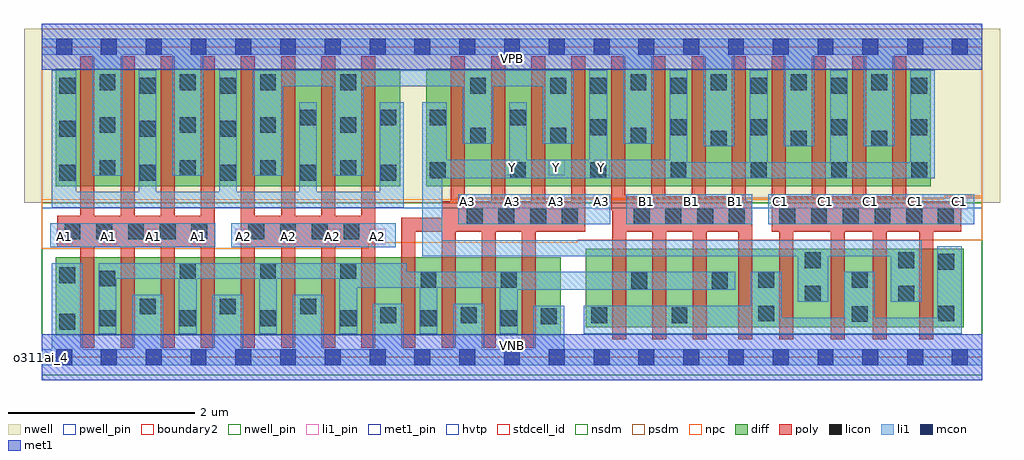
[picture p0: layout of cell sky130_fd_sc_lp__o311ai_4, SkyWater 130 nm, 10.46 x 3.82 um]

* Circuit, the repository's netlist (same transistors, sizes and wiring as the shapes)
* Copyright 2020 The SkyWater PDK Authors
*
* Licensed under the Apache License, Version 2.0 (the "License");
* you may not use this file except in compliance with the License.
* You may obtain a copy of the License at
*
*     https://www.apache.org/licenses/LICENSE-2.0
*
* Unless required by applicable law or agreed to in writing, software
* distributed under the License is distributed on an "AS IS" BASIS,
* WITHOUT WARRANTIES OR CONDITIONS OF ANY KIND, either express or implied.
* See the License for the specific language governing permissions and
* limitations under the License.
*
* SPDX-License-Identifier: Apache-2.0

.SUBCKT sky130_fd_sc_lp__o311ai_4 A1 A2 A3 B1 C1 VGND VNB VPB VPWR Y
*.PININFO A1:I A2:I A3:I B1:I C1:I VGND:I VNB:I VPB:I VPWR:I Y:O
MMPA0 VPWR A1 sndA1 VPB sky130_fd_pr__pfet_01v8_hvt m=4 w=1.26U l=0.15U mult=1
+ sa=0.265 sb=0.265 sd=0.28 area=0.063 perim=1.14
MMPA1 sndA1 A2 sndA2 VPB sky130_fd_pr__pfet_01v8_hvt m=4 w=1.26U l=0.15U mult=1
+ sa=0.265 sb=0.265 sd=0.28 area=0.063 perim=1.14
MMPA2 sndA2 A3 Y VPB sky130_fd_pr__pfet_01v8_hvt m=4 w=1.26U l=0.15U mult=1 sa=0.265
+ sb=0.265 sd=0.28 area=0.063 perim=1.14
MMPB0 VPWR B1 Y VPB sky130_fd_pr__pfet_01v8_hvt m=4 w=1.26U l=0.15U mult=1 sa=0.265
+ sb=0.265 sd=0.28 area=0.063 perim=1.14
MMPC0 VPWR C1 Y VPB sky130_fd_pr__pfet_01v8_hvt m=4 w=1.26U l=0.15U mult=1 sa=0.265
+ sb=0.265 sd=0.28 area=0.063 perim=1.14
MMNA0 pndA A1 VGND VNB sky130_fd_pr__nfet_01v8 m=4 w=0.84U l=0.15U mult=1 sa=0.265
+ sb=0.265 sd=0.28 area=0.063 perim=1.14
MMNA1 pndA A2 VGND VNB sky130_fd_pr__nfet_01v8 m=4 w=0.84U l=0.15U mult=1 sa=0.265
+ sb=0.265 sd=0.28 area=0.063 perim=1.14
MMNA2 pndA A3 VGND VNB sky130_fd_pr__nfet_01v8 m=4 w=0.84U l=0.15U mult=1 sa=0.265
+ sb=0.265 sd=0.28 area=0.063 perim=1.14
MMNB0 pndB B1 pndA VNB sky130_fd_pr__nfet_01v8 m=4 w=0.84U l=0.15U mult=1 sa=0.265
+ sb=0.265 sd=0.28 area=0.063 perim=1.14
MMNC0 Y C1 pndB VNB sky130_fd_pr__nfet_01v8 m=4 w=0.84U l=0.15U mult=1 sa=0.265
+ sb=0.265 sd=0.28 area=0.063 perim=1.14
.ENDS sky130_fd_sc_lp__o311ai_4

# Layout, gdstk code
import gdstk
lib = gdstk.Library(unit=1e-6, precision=1e-09)
def R(c, l, rs):  # rectangles x0, y0, x1, y1
    for r in rs: c.add(gdstk.rectangle(r[:2], r[2:], *l))
def A(c, l, x, y, w, h, nx, ny, dx, dy):  # array of equal rectangles
    R(c, l, [(x+i*dx, y+j*dy, x+i*dx+w, y+j*dy+h) for i in range(nx) for j in range(ny)])
def P(c, l, *ps):  # polygons
    for p in ps: c.add(gdstk.Polygon(p, *l))
nwell_pin = (64, 16)
nwell = (64, 20)
diff = (65, 20)
poly = (66, 20)
licon = (66, 44)
li1_pin = (67, 16)
li1 = (67, 20)
mcon = (67, 44)
met1_pin = (68, 16)
met1 = (68, 20)
hvtp = (78, 44)
stdcell_id = (81, 4)
nsdm = (93, 44)
psdm = (94, 20)
npc = (95, 20)
pwell_pin = (122, 16)
boundary2 = (236, 0)

sky130_fd_sc_lp__o311ai_ = lib.new_cell('sky130_fd_sc_lp__o311ai_4')
R(sky130_fd_sc_lp__o311ai_, nwell_pin, [(0,3.085,10.08,3.33)])
R(sky130_fd_sc_lp__o311ai_, nwell, [(-0.19,1.655,10.27,3.52)])
R(sky130_fd_sc_lp__o311ai_, diff, [(0.15,0.235,5.56,1.075), (5.83,0.325,9.88,1.165), (0.15,1.835,3.84,3.095), (4.12,1.835,9.53,3.095)])
P(sky130_fd_sc_lp__o311ai_, poly, [(1.855,3.225),(1.705,3.225),(1.705,1.515),(1.425,1.515),(1.425,3.225),(1.275,3.225),(1.275,1.515),(0.995,1.515),(0.995,3.225),(0.845,3.225),(0.845,1.515),(0.565,1.515),(0.565,3.225),(0.415,3.225),(0.415,1.515),(0.165,1.515),(0.165,1.185),(0.415,1.185),(0.415,0.105),(0.565,0.105),(0.565,1.185),(0.845,1.185),(0.845,0.105),(0.995,0.105),(0.995,1.185),(1.275,1.185),(1.275,0.105),(1.425,0.105),(1.425,1.185),(1.705,1.185),(1.705,0.105),(1.855,0.105)],
  [(3.575,3.225),(3.425,3.225),(3.425,1.515),(3.145,1.515),(3.145,3.225),(2.995,3.225),(2.995,1.515),(2.715,1.515),(2.715,3.225),(2.565,3.225),(2.565,1.515),(2.285,1.515),(2.285,3.225),(2.135,3.225),(2.135,0.105),(2.285,0.105),(2.285,1.185),(2.565,1.185),(2.565,0.105),(2.715,0.105),(2.715,1.185),(2.995,1.185),(2.995,0.105),(3.145,0.105),(3.145,1.185),(3.425,1.185),(3.425,0.105),(3.575,0.105)],
  [(5.825,3.225),(5.675,3.225),(5.675,1.675),(5.395,1.675),(5.395,3.225),(5.245,3.225),(5.245,1.675),(4.965,1.675),(4.965,3.225),(4.815,3.225),(4.815,1.675),(4.535,1.675),(4.535,3.225),(4.385,3.225),(4.385,1.675),(4.285,1.675),(4.285,1.495),(3.855,1.495),(3.855,0.105),(4.005,0.105),(4.005,1.345),(4.285,1.345),(4.285,0.105),(4.435,0.105),(4.435,1.345),(4.715,1.345),(4.715,0.105),(4.865,0.105),(4.865,1.345),(5.145,1.345),(5.145,0.105),(5.295,0.105),(5.295,1.345),(5.825,1.345)],
  [(7.615,1.675),(7.545,1.675),(7.545,3.225),(7.395,3.225),(7.395,1.725),(7.115,1.725),(7.115,3.225),(6.965,3.225),(6.965,1.725),(6.685,1.725),(6.685,3.225),(6.535,3.225),(6.535,1.725),(6.255,1.725),(6.255,3.225),(6.105,3.225),(6.105,1.575),(6.115,1.575),(6.115,0.195),(6.265,0.195),(6.265,1.345),(6.545,1.345),(6.545,0.195),(6.695,0.195),(6.695,1.345),(6.975,1.345),(6.975,0.195),(7.125,0.195),(7.125,1.345),(7.465,1.345),(7.465,0.195),(7.615,0.195)],
  [(9.855,1.675),(9.265,1.675),(9.265,3.225),(9.115,3.225),(9.115,1.725),(8.835,1.725),(8.835,3.225),(8.685,3.225),(8.685,1.725),(8.405,1.725),(8.405,3.225),(8.255,3.225),(8.255,1.725),(7.975,1.725),(7.975,3.225),(7.825,3.225),(7.825,1.345),(7.905,1.345),(7.905,0.195),(8.055,0.195),(8.055,1.345),(8.455,1.345),(8.455,0.195),(8.605,0.195),(8.605,1.345),(8.905,1.345),(8.905,0.195),(9.055,0.195),(9.055,1.345),(9.405,1.345),(9.405,0.195),(9.555,0.195),(9.555,1.345),(9.855,1.345)])
A(sky130_fd_sc_lp__o311ai_, licon, 0.62, 0.335, 0.17, 0.17, 6, 1, 0.86, 0)
A(sky130_fd_sc_lp__o311ai_, licon, 1.05, 0.46, 0.17, 0.17, 3, 1, 0.86, 0)
A(sky130_fd_sc_lp__o311ai_, licon, 1.48, 0.84, 0.17, 0.17, 3, 1, 0.86, 0)
A(sky130_fd_sc_lp__o311ai_, licon, 0.245, 1.265, 0.17, 0.17, 5, 1, 0.34, 0)
A(sky130_fd_sc_lp__o311ai_, licon, 2.215, 1.265, 0.17, 0.17, 4, 1, 0.34, 0)
A(sky130_fd_sc_lp__o311ai_, licon, 4.555, 1.425, 0.17, 0.17, 4, 1, 0.34, 0)
A(sky130_fd_sc_lp__o311ai_, licon, 6.345, 1.425, 0.17, 0.17, 4, 1, 0.34, 0)
A(sky130_fd_sc_lp__o311ai_, licon, 7.905, 1.425, 0.17, 0.17, 6, 1, 0.34, 0)
A(sky130_fd_sc_lp__o311ai_, licon, 0.19, 1.895, 0.17, 0.17, 5, 1, 0.86, 0)
A(sky130_fd_sc_lp__o311ai_, licon, 4.16, 1.92, 0.17, 0.17, 7, 1, 0.86, 0)
A(sky130_fd_sc_lp__o311ai_, licon, 0.62, 1.945, 0.17, 0.17, 4, 3, 0.86, 0.46)
A(sky130_fd_sc_lp__o311ai_, licon, 7.17, 2.26, 0.17, 0.17, 3, 1, 0.86, 0)
A(sky130_fd_sc_lp__o311ai_, licon, 4.59, 2.29, 0.17, 0.17, 3, 1, 0.86, 0)
A(sky130_fd_sc_lp__o311ai_, licon, 0.19, 2.365, 0.17, 0.17, 3, 2, 0.86, 0.46)
A(sky130_fd_sc_lp__o311ai_, licon, 5.88, 2.38, 0.17, 0.17, 5, 2, 0.86, 0.445)
A(sky130_fd_sc_lp__o311ai_, licon, 6.31, 2.865, 0.17, 0.17, 4, 1, 0.86, 0)
R(sky130_fd_sc_lp__o311ai_, licon, [(0.19,0.295,0.36,0.465), (5.35,0.355,5.52,0.525), (3.63,0.365,3.8,0.535), (4.49,0.365,4.66,0.535), (5.89,0.365,6.06,0.535), (6.75,0.365,6.92,0.535), (8.68,0.38,8.85,0.55), (7.68,0.385,7.85,0.555), (9.61,0.385,9.78,0.555), (8.18,0.595,8.35,0.765), (9.18,0.595,9.35,0.765), (6.32,0.735,6.49,0.905), (7.18,0.735,7.35,0.905), (4.06,0.745,4.23,0.915), (4.92,0.745,5.09,0.915), (7.68,0.745,7.85,0.915), (8.68,0.745,8.85,0.915), (0.62,0.76,0.79,0.93), (0.19,0.795,0.36,0.965), (9.61,0.94,9.78,1.11), (8.18,0.955,8.35,1.125), (9.18,0.955,9.35,1.125), (2.77,2.485,2.94,2.655), (3.63,2.485,3.8,2.655), (4.16,2.485,4.33,2.655), (5.02,2.485,5.19,2.655), (4.59,2.825,4.76,2.995), (5.45,2.825,5.62,2.995)])
A(sky130_fd_sc_lp__o311ai_, li1_pin, 0.155, 1.21, 0.17, 0.17, 8, 1, 0.48, 0)
A(sky130_fd_sc_lp__o311ai_, li1_pin, 4.475, 1.58, 0.17, 0.17, 12, 1, 0.48, 0)
A(sky130_fd_sc_lp__o311ai_, li1_pin, 4.955, 1.95, 0.17, 0.17, 3, 1, 0.48, 0)
R(sky130_fd_sc_lp__o311ai_, li1, [(0.09,1.18,1.86,1.435), (2.03,1.18,3.795,1.435), (4.465,1.425,6.095,1.75), (6.265,1.425,7.615,1.75), (7.785,1.425,9.995,1.75)])
P(sky130_fd_sc_lp__o311ai_, li1, [(10.08,0.085),(5.6,0.085),(5.6,0.555),(5.27,0.555),(5.27,0.085),(4.74,0.085),(4.74,0.575),(4.41,0.575),(4.41,0.085),(3.88,0.085),(3.88,0.575),(3.55,0.575),(3.55,0.085),(3.02,0.085),(3.02,0.67),(2.69,0.67),(2.69,0.085),(2.16,0.085),(2.16,0.67),(1.83,0.67),(1.83,0.085),(1.3,0.085),(1.3,0.67),(0.97,0.67),(0.97,0.085),(0.44,0.085),(0.44,1.01),(0.11,1.01),(0.11,0.085),(0,0.085),(0,-0.085),(10.08,-0.085)],
  [(9.86,1.19),(9.6,1.19),(9.6,0.425),(8.93,0.425),(8.93,0.915),(8.6,0.915),(8.6,0.425),(7.93,0.425),(7.93,0.915),(7.6,0.915),(7.6,0.555),(5.81,0.555),(5.81,0.255),(9.86,0.255)],
  [(10.08,3.415),(0,3.415),(0,3.245),(0.54,3.245),(0.54,1.945),(0.87,1.945),(0.87,3.245),(1.4,3.245),(1.4,1.945),(1.73,1.945),(1.73,3.245),(6.23,3.245),(6.23,2.29),(6.56,2.29),(6.56,3.245),(7.09,3.245),(7.09,2.26),(7.42,2.26),(7.42,3.245),(7.95,3.245),(7.95,2.26),(8.28,2.26),(8.28,3.245),(8.81,3.245),(8.81,2.26),(9.14,2.26),(9.14,3.245),(10.08,3.245)],
  [(3.88,2.735),(3.62,2.735),(3.62,1.775),(2.95,1.775),(2.95,2.735),(2.76,2.735),(2.76,1.775),(2.09,1.775),(2.09,3.075),(1.9,3.075),(1.9,1.775),(1.23,1.775),(1.23,3.075),(1.04,3.075),(1.04,1.775),(0.37,1.775),(0.37,3.075),(0.11,3.075),(0.11,1.605),(3.88,1.605)],
  [(5.7,3.075),(2.26,3.075),(2.26,1.945),(2.59,1.945),(2.59,2.905),(3.12,2.905),(3.12,1.945),(3.45,1.945),(3.45,2.905),(4.51,2.905),(4.51,2.29),(4.84,2.29),(4.84,2.905),(5.37,2.905),(5.37,2.29),(5.7,2.29)],
  [(7.43,0.915),(3.91,0.915),(3.91,1.01),(0.61,1.01),(0.61,0.255),(0.8,0.255),(0.8,0.84),(1.47,0.84),(1.47,0.255),(1.66,0.255),(1.66,0.84),(2.33,0.84),(2.33,0.255),(2.52,0.255),(2.52,0.84),(3.19,0.84),(3.19,0.255),(3.38,0.255),(3.38,0.745),(4.05,0.745),(4.05,0.255),(4.24,0.255),(4.24,0.745),(4.91,0.745),(4.91,0.255),(5.1,0.255),(5.1,0.725),(7.43,0.725)],
  [(9.57,3.075),(9.31,3.075),(9.31,2.09),(8.64,2.09),(8.64,3.075),(8.45,3.075),(8.45,2.09),(7.78,2.09),(7.78,3.075),(7.59,3.075),(7.59,2.09),(6.92,2.09),(6.92,3.075),(6.73,3.075),(6.73,2.12),(6.06,2.12),(6.06,3.075),(5.87,3.075),(5.87,2.12),(5.2,2.12),(5.2,2.735),(5.01,2.735),(5.01,2.12),(4.34,2.12),(4.34,2.735),(4.08,2.735),(4.08,1.085),(8.1,1.085),(8.1,0.595),(8.43,0.595),(8.43,1.085),(9.1,1.085),(9.1,0.595),(9.43,0.595),(9.43,1.255),(4.295,1.255),(4.295,1.92),(9.57,1.92)])
A(sky130_fd_sc_lp__o311ai_, mcon, 0.155, -0.085, 0.17, 0.17, 21, 2, 0.48, 3.33)
R(sky130_fd_sc_lp__o311ai_, met1_pin, [(0,0,10.08,0.245), (0,3.085,10.08,3.33)])
R(sky130_fd_sc_lp__o311ai_, met1, [(0,-0.245,10.08,0.245), (0,3.085,10.08,3.575)])
R(sky130_fd_sc_lp__o311ai_, hvtp, [(0,1.6,10.08,3.33)])
R(sky130_fd_sc_lp__o311ai_, stdcell_id, [(0,0,10.08,3.33)])
R(sky130_fd_sc_lp__o311ai_, nsdm, [(0,-0.19,10.08,1.655)])
P(sky130_fd_sc_lp__o311ai_, psdm, [(10.08,3.52),(0,3.52),(0,1.655),(4.445,1.655),(4.445,1.705),(10.08,1.705)])
P(sky130_fd_sc_lp__o311ai_, npc, [(10.08,1.73),(9.67,1.73),(9.67,1.695),(0,1.695),(0,1.165),(3.505,1.165),(3.505,1.23),(5.74,1.23),(5.74,1.255),(10.08,1.255)])
R(sky130_fd_sc_lp__o311ai_, pwell_pin, [(0,0,10.08,0.245)])
R(sky130_fd_sc_lp__o311ai_, boundary2, [(0,0,10.08,3.33)])
sky130_fd_sc_lp__o311ai_.add(gdstk.Label('VNB', (5.04,0.123), layer=64, texttype=59))
sky130_fd_sc_lp__o311ai_.add(gdstk.Label('VPB', (5.04,3.208), layer=64, texttype=5))
sky130_fd_sc_lp__o311ai_.add(gdstk.Label('o311ai_4', (0,0), layer=83, texttype=44))
sky130_fd_sc_lp__o311ai_.add(gdstk.Label('VPWR', (5.04,3.208), layer=68, texttype=5))
sky130_fd_sc_lp__o311ai_.add(gdstk.Label('VGND', (5.04,0.123), layer=68, texttype=5))
sky130_fd_sc_lp__o311ai_.add(gdstk.Label('A1', (0.24,1.295), layer=67, texttype=5))
sky130_fd_sc_lp__o311ai_.add(gdstk.Label('A1', (0.72,1.295), layer=67, texttype=5))
sky130_fd_sc_lp__o311ai_.add(gdstk.Label('A1', (1.2,1.295), layer=67, texttype=5))
sky130_fd_sc_lp__o311ai_.add(gdstk.Label('A1', (1.68,1.295), layer=67, texttype=5))
sky130_fd_sc_lp__o311ai_.add(gdstk.Label('A2', (2.16,1.295), layer=67, texttype=5))
sky130_fd_sc_lp__o311ai_.add(gdstk.Label('A2', (2.64,1.295), layer=67, texttype=5))
sky130_fd_sc_lp__o311ai_.add(gdstk.Label('A2', (3.12,1.295), layer=67, texttype=5))
sky130_fd_sc_lp__o311ai_.add(gdstk.Label('A2', (3.6,1.295), layer=67, texttype=5))
sky130_fd_sc_lp__o311ai_.add(gdstk.Label('A3', (4.56,1.665), layer=67, texttype=5))
sky130_fd_sc_lp__o311ai_.add(gdstk.Label('A3', (5.04,1.665), layer=67, texttype=5))
sky130_fd_sc_lp__o311ai_.add(gdstk.Label('A3', (5.52,1.665), layer=67, texttype=5))
sky130_fd_sc_lp__o311ai_.add(gdstk.Label('A3', (6,1.665), layer=67, texttype=5))
sky130_fd_sc_lp__o311ai_.add(gdstk.Label('B1', (6.48,1.665), layer=67, texttype=5))
sky130_fd_sc_lp__o311ai_.add(gdstk.Label('B1', (6.96,1.665), layer=67, texttype=5))
sky130_fd_sc_lp__o311ai_.add(gdstk.Label('B1', (7.44,1.665), layer=67, texttype=5))
sky130_fd_sc_lp__o311ai_.add(gdstk.Label('C1', (7.92,1.665), layer=67, texttype=5))
sky130_fd_sc_lp__o311ai_.add(gdstk.Label('C1', (8.4,1.665), layer=67, texttype=5))
sky130_fd_sc_lp__o311ai_.add(gdstk.Label('C1', (8.88,1.665), layer=67, texttype=5))
sky130_fd_sc_lp__o311ai_.add(gdstk.Label('C1', (9.36,1.665), layer=67, texttype=5))
sky130_fd_sc_lp__o311ai_.add(gdstk.Label('C1', (9.84,1.665), layer=67, texttype=5))
sky130_fd_sc_lp__o311ai_.add(gdstk.Label('Y', (5.04,2.035), layer=67, texttype=5))
sky130_fd_sc_lp__o311ai_.add(gdstk.Label('Y', (5.52,2.035), layer=67, texttype=5))
sky130_fd_sc_lp__o311ai_.add(gdstk.Label('Y', (6,2.035), layer=67, texttype=5))

lib.write_gds('sky130_fd_sc_lp__o311ai_4.gds')
